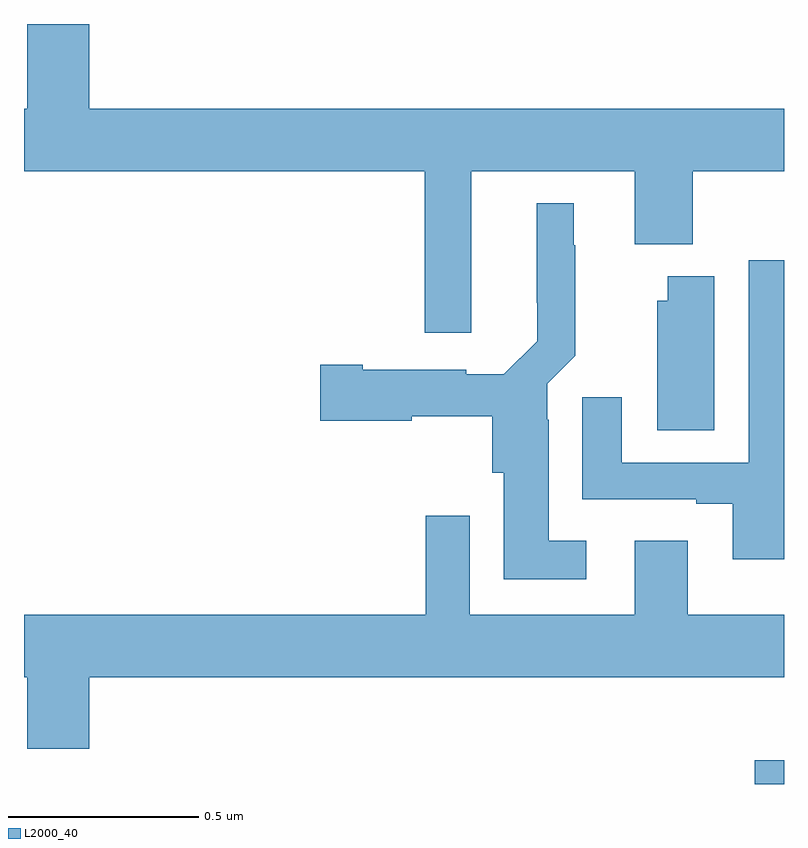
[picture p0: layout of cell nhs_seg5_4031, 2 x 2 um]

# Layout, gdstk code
import gdstk
lib = gdstk.Library(unit=1e-6, precision=1e-09)
def R(c, l, rs):  # rectangles x0, y0, x1, y1
    for r in rs: c.add(gdstk.rectangle(r[:2], r[2:], *l))
def P(c, l, *ps):  # polygons
    for p in ps: c.add(gdstk.Polygon(p, *l))
L2000_40 = (2000, 40)

nhs_seg5_4031 = lib.new_cell('nhs_seg5_4031')
R(nhs_seg5_4031, L2000_40, [(166.923,869.799,167,869.862)])
P(nhs_seg5_4031, L2000_40, [(166.177,871.412),(166.607,871.412),(166.607,871.22),(166.76,871.22),(166.76,871.412),(167,871.412),(167,871.576),(165.172,871.576),(165.172,871.799),(165.008,871.799),(165.008,871.576),(165,871.576),(165,871.412),(166.055,871.412),(166.055,870.987),(166.177,870.987)],
  [(166.48,870.439),(166.381,870.439),(166.381,870.758),(166.377,870.758),(166.377,870.852),(166.451,870.926),(166.451,871.217),(166.447,871.217),(166.447,871.327),(166.349,871.327),(166.349,871.066),(166.35,871.066),(166.35,870.964),(166.263,870.877),(166.164,870.877),(166.164,870.889),(165.892,870.889),(165.892,870.902),(165.78,870.902),(165.78,870.755),(166.02,870.755),(166.02,870.767),(166.232,870.767),(166.232,870.618),(166.262,870.618),(166.262,870.338),(166.48,870.338)],
  [(167,871.177),(166.907,871.177),(166.907,870.645),(166.573,870.645),(166.573,870.817),(166.469,870.817),(166.469,870.549),(166.769,870.549),(166.769,870.537),(166.865,870.537),(166.865,870.39),(167,870.39)],
  [(166.816,871.135),(166.694,871.135),(166.694,871.071),(166.667,871.071),(166.667,870.73),(166.816,870.73)],
  [(165.172,870.08),(167,870.08),(167,870.244),(166.747,870.244),(166.747,870.439),(166.607,870.439),(166.607,870.244),(166.173,870.244),(166.173,870.505),(166.057,870.505),(166.057,870.244),(165,870.244),(165,870.08),(165.008,870.08),(165.008,869.892),(165.172,869.892)])

lib.write_gds('nhs_seg5_4031.gds')
